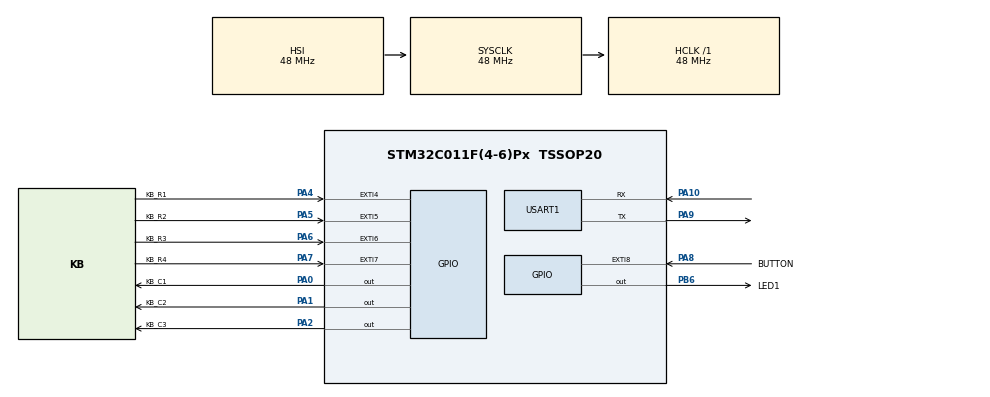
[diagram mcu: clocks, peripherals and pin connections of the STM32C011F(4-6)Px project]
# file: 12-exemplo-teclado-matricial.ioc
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Mcu.Family=STM32C0
Mcu.Name=STM32C011F(4-6)Px
Mcu.Package=TSSOP20
NVIC.EXTI4_15_IRQn=true\:0\:0\:false\:false\:true\:true\:true\:true
NVIC.TIM17_IRQn=true\:0\:0\:false\:false\:true\:true\:true\:true
PA0.GPIO_Label=KB_C1
PA0.Signal=GPIO_Output
PA1.GPIO_Label=KB_C2
PA1.Signal=GPIO_Output
PA10\ [PA12].Mode=Asynchronous
PA10\ [PA12].Signal=USART1_RX
PA13.Mode=Serial_Wire
PA13.Signal=DEBUG_SWDIO
PA14-BOOT0.Mode=Serial_Wire
PA14-BOOT0.Signal=DEBUG_SWCLK
PA2.GPIO_Label=KB_C3
PA2.Signal=GPIO_Output
PA4.GPIO_Label=KB_R1
PA4.GPIO_ModeDefaultEXTI=GPIO_MODE_IT_RISING_FALLING
PA4.GPIO_PuPd=GPIO_PULLDOWN
PA4.Signal=GPXTI4
PA5.GPIO_Label=KB_R2
PA5.GPIO_ModeDefaultEXTI=GPIO_MODE_IT_RISING_FALLING
PA5.GPIO_PuPd=GPIO_PULLDOWN
PA5.Signal=GPXTI5
PA6.GPIO_Label=KB_R3
PA6.GPIO_ModeDefaultEXTI=GPIO_MODE_IT_RISING_FALLING
PA6.GPIO_PuPd=GPIO_PULLDOWN
PA6.Signal=GPXTI6
PA7.GPIO_Label=KB_R4
PA7.GPIO_ModeDefaultEXTI=GPIO_MODE_IT_RISING_FALLING
PA7.GPIO_PuPd=GPIO_PULLDOWN
PA7.Signal=GPXTI7
PA8.GPIO_Label=BUTTON
PA8.GPIO_ModeDefaultEXTI=GPIO_MODE_IT_RISING_FALLING
PA8.GPIO_PuPd=GPIO_PULLUP
PA8.Signal=GPXTI8
PA9\ [PA11].Mode=Asynchronous
PA9\ [PA11].Signal=USART1_TX
PB6.GPIO_Label=LED1
PB6.Signal=GPIO_Output
ProjectManager.HeapSize=0x200
ProjectManager.StackSize=0x400
ProjectManager.TargetToolchain=STM32CubeIDE
RCC.ADCFreq_Value=48000000
RCC.AHBFreq_Value=48000000
RCC.CortexFreq_Value=48000000
RCC.EXTERNAL_CLOCK_VALUE=12288000
RCC.HCLKFreq_Value=48000000
RCC.HSE_VALUE=8000000
RCC.HSISYSCLKDivider=RCC_HSI_DIV1
RCC.HSI_VALUE=48000000
RCC.LSE_VALUE=32768
RCC.SYSCLKFreq_VALUE=48000000
TIM17.Period=(1000 - 1)
TIM17.Prescaler=(48 - 1)
USART1.VirtualMode-Asynchronous=VM_ASYNC
VP_SYS_VS_PINREMAP.Mode=PINREMAP
VP_SYS_VS_PINREMAP_10_12.Mode=PINREMAP_10_12
VP_TIM17_VS_ClockSourceINT.Mode=Enable_Timer
board=custom

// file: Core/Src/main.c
/* USER CODE BEGIN Header */
/**
  ******************************************************************************
  * @file           : main.c
  * @brief          : Main program body
  ******************************************************************************
  * @attention
  *
  * Copyright (c) 2023 STMicroelectronics.
  * All rights reserved.
  *
  * This software is licensed under terms that can be found in the LICENSE file
  * in the root directory of this software component.
  * If no LICENSE file comes with this software, it is provided AS-IS.
  *
  ******************************************************************************
  */
/* USER CODE END Header */
#include "main.h"
#include "tim.h"
#include "usart.h"
#include "gpio.h"

/* USER CODE BEGIN Includes */

#include "isr.h"
#include "keyboard.h"

/* USER CODE END Includes */

void SystemClock_Config(void);

int main(void)
{
  /* USER CODE BEGIN 1 */

	char uart_buffer[40];

  /* USER CODE END 1 */

  /* MCU Configuration--------------------------------------------------------*/

  /* Reset of all peripherals, Initializes the Flash interface and the Systick. */
  HAL_Init();

  /* Configure the system clock */
  SystemClock_Config();

  /* Initialize all configured peripherals */
  MX_GPIO_Init();
  MX_USART1_UART_Init();
  MX_TIM17_Init();
  /* USER CODE BEGIN 2 */

  HAL_NVIC_EnableIRQ(EXTI4_15_IRQn);	// Desabilita interrupções para iniciar standby da varredura do teclado

  HAL_GPIO_WritePin(KB_C1_GPIO_Port, KB_C1_Pin | KB_C2_Pin | KB_C3_Pin, 1);	// Deixa todas as colunas em HIGH, para permitir detecção por interrupção

  HAL_NVIC_EnableIRQ(EXTI4_15_IRQn);	// Reabilita interrupções para permitir detecção de tecla pressionada

  /* USER CODE END 2 */

  /* Infinite loop */
  /* USER CODE BEGIN WHILE */
  while (1)
  {
	  if (debouncedButtonPressed == 1)
		{
			if (currentButton <= 0x09)		// 0 a 9 corresponde aos caracteres ASCII 30 a 39
			{
				uart_buffer[0] = currentButton + 0x30;
				uart_buffer[1] = ' ';
			}
			else if (currentButton == 0x0A)	// *
			{
				uart_buffer[0] = '*';
				uart_buffer[1] = ' ';
			}
			else if (currentButton == 0x0B)	// #
			{
				uart_buffer[0] = '#';
				uart_buffer[1] = ' ';
			}
			else if (currentButton == (KB_DEFAULT | BUTTON_MASK))	// BUTTON
			{
				uart_buffer[0] = '\r';
				uart_buffer[1] = '\n';
			}

			HAL_UART_Transmit(&huart1, (uint8_t *)uart_buffer, 2, 100);	// Envia pela UART o caractere pressionado no teclado

			debouncedButtonPressed = 0;		// Reseta flag para permitir próxima detecção
		}
    /* USER CODE END WHILE */

  }
}

void SystemClock_Config(void)
{
  RCC_OscInitTypeDef RCC_OscInitStruct = {0};
  RCC_ClkInitTypeDef RCC_ClkInitStruct = {0};

  /** Initializes the RCC Oscillators according to the specified parameters
  * in the RCC_OscInitTypeDef structure.
  */
  RCC_OscInitStruct.OscillatorType = RCC_OSCILLATORTYPE_HSI;
  RCC_OscInitStruct.HSIState = RCC_HSI_ON;
  RCC_OscInitStruct.HSIDiv = RCC_HSI_DIV1;
  RCC_OscInitStruct.HSICalibrationValue = RCC_HSICALIBRATION_DEFAULT;
  if (HAL_RCC_OscConfig(&RCC_OscInitStruct) != HAL_OK)
  {
    Error_Handler();
  }

  /** Initializes the CPU, AHB and APB buses clocks
  */
  RCC_ClkInitStruct.ClockType = RCC_CLOCKTYPE_HCLK|RCC_CLOCKTYPE_SYSCLK
                              |RCC_CLOCKTYPE_PCLK1;
  RCC_ClkInitStruct.SYSCLKSource = RCC_SYSCLKSOURCE_HSI;
  RCC_ClkInitStruct.SYSCLKDivider = RCC_SYSCLK_DIV1;
  RCC_ClkInitStruct.AHBCLKDivider = RCC_HCLK_DIV1;
  RCC_ClkInitStruct.APB1CLKDivider = RCC_APB1_DIV1;

  if (HAL_RCC_ClockConfig(&RCC_ClkInitStruct, FLASH_LATENCY_1) != HAL_OK)
  {
    Error_Handler();
  }
}

void Error_Handler(void)
{
  __disable_irq();
  while (1)
  {
  }
}
